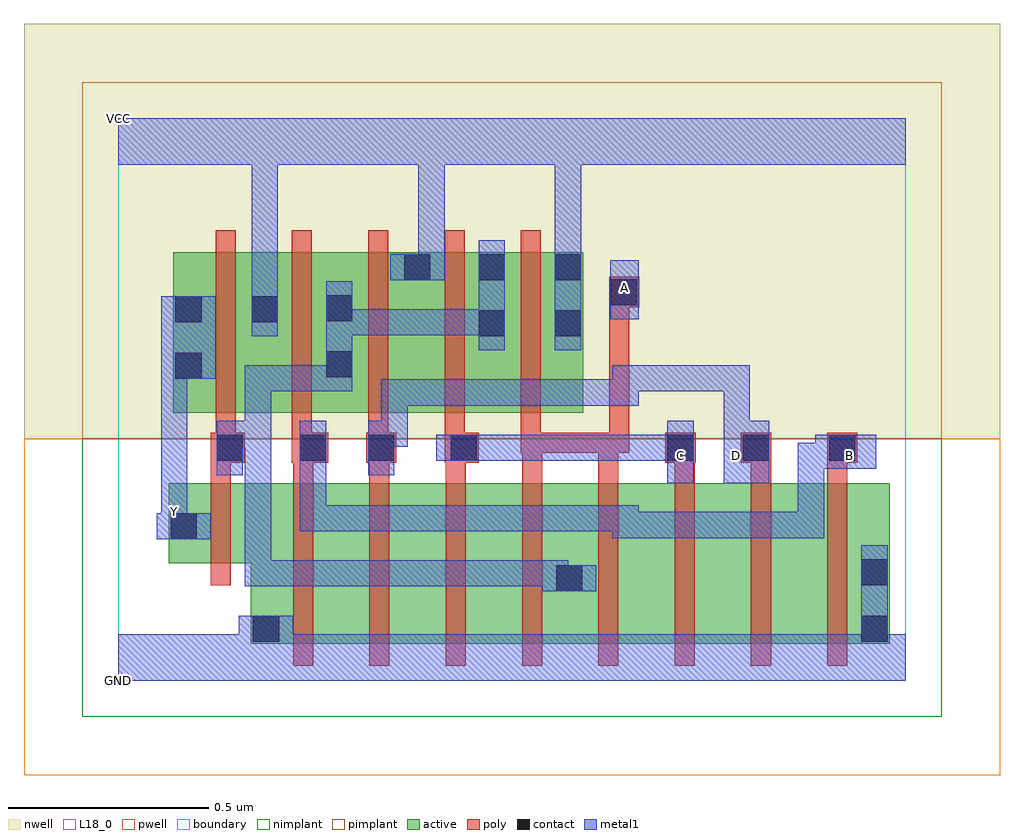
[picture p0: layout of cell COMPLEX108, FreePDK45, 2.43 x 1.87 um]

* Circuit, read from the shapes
.subckt COMPLEX108 A B C D GND VCC Y
M1 GND n1 Y VSUBS nfet w=0.2u l=0.05u
M2 n2 B GND VSUBS nfet w=0.4u l=0.05u
M3 n3 D n2 VSUBS nfet w=0.4u l=0.05u
M4 n4 C n3 VSUBS nfet w=0.4u l=0.05u
M5 n1 A n4 VSUBS nfet w=0.4u l=0.05u
M6 n5 A n1 VSUBS nfet w=0.4u l=0.05u
M7 n6 C n5 VSUBS nfet w=0.4u l=0.05u
M8 n7 D n6 VSUBS nfet w=0.4u l=0.05u
M9 GND B n7 VSUBS nfet w=0.4u l=0.05u
M10 VCC n1 Y n8 pfet w=0.4u l=0.05u
M11 n1 B VCC n8 pfet w=0.4u l=0.05u
M12 VCC D n1 n8 pfet w=0.4u l=0.05u
M13 n1 C VCC n8 pfet w=0.4u l=0.05u
M14 VCC A n1 n8 pfet w=0.4u l=0.05u
.ends

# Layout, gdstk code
import gdstk
lib = gdstk.Library(unit=1e-6, precision=1e-09)
def R(c, l, rs):  # rectangles x0, y0, x1, y1
    for r in rs: c.add(gdstk.rectangle(r[:2], r[2:], *l))
def A(c, l, x, y, w, h, nx, ny, dx, dy):  # array of equal rectangles
    R(c, l, [(x+i*dx, y+j*dy, x+i*dx+w, y+j*dy+h) for i in range(nx) for j in range(ny)])
active = (1, 0)
pwell = (2, 0)
nwell = (3, 0)
nimplant = (4, 0)
pimplant = (5, 0)
poly = (9, 0)
contact = (10, 0)
metal1 = (11, 0)
L18_0 = (18, 0)
boundary = (235, 0)

complex108 = lib.new_cell('COMPLEX108')
R(complex108, active, [(0.33,0.092,0.555,0.492), (0.33,0.092,0.405,0.347), (0.555,0.092,0.745,0.492), (0.745,0.092,0.935,0.492), (0.935,0.092,1.16,0.492), (1.085,0.092,1.315,0.492), (1.315,0.092,1.505,0.492), (1.505,0.092,1.695,0.492), (1.695,0.092,1.92,0.492), (1.845,0.092,1.92,0.492), (1.085,0.147,1.16,0.492), (0.125,0.292,0.405,0.492), (0.125,0.292,0.2,0.492), (0.137,0.667,0.212,1.067), (0.137,0.667,0.402,1.067), (0.327,0.667,0.587,1.067), (0.512,0.667,0.782,1.067), (0.707,0.667,0.967,1.067), (0.892,0.667,1.157,1.067), (0.512,0.75,0.587,1.067), (0.327,0.802,0.402,1.067), (0.892,0.802,0.967,1.067), (1.082,0.802,1.157,1.067), (0.707,0.907,0.782,1.067)])
R(complex108, pwell, [(-0.235,-0.235,2.195,0.602)])
R(complex108, nwell, [(-0.235,0.602,2.195,1.635)])
R(complex108, nimplant, [(-0.09,-0.09,2.05,0.602)])
R(complex108, pimplant, [(-0.09,0.602,2.05,1.49)])
A(complex108, poly, 0.435, 0.037, 0.05, 0.51, 8, 1, 0.19, 0)
A(complex108, poly, 0.435, 0.497, 0.05, 0.095, 3, 1, 0.19, 0)
A(complex108, poly, 1.385, 0.497, 0.05, 0.095, 3, 1, 0.19, 0)
A(complex108, poly, 0.242, 0.567, 0.05, 0.095, 5, 1, 0.19, 0)
A(complex108, poly, 0.242, 0.612, 0.05, 0.51, 5, 1, 0.19, 0)
R(complex108, poly, [(0.23,0.237,0.28,0.547), (0.23,0.497,0.28,0.592), (1.005,0.497,1.055,0.617), (1.195,0.497,1.245,0.617), (0.23,0.542,0.315,0.617), (0.432,0.542,0.522,0.617), (0.617,0.542,0.692,0.617), (0.812,0.542,0.897,0.617), (1.362,0.542,1.437,0.617), (1.55,0.542,1.625,0.617), (1.765,0.542,1.84,0.617), (1.002,0.567,1.055,0.617), (1.005,0.567,1.055,0.617), (1.005,0.567,1.055,0.617), (1.005,0.567,1.245,0.617), (1.195,0.567,1.257,0.617), (1.207,0.567,1.257,0.617), (1.207,0.567,1.272,0.617), (1.222,0.567,1.272,0.98), (1.222,0.93,1.297,1.005)])
R(complex108, contact, [(0.335,0.097,0.4,0.162), (1.85,0.097,1.915,0.162), (1.09,0.222,1.155,0.287), (1.85,0.237,1.915,0.302), (0.13,0.352,0.195,0.417), (0.245,0.547,0.31,0.612), (0.452,0.547,0.517,0.612), (0.622,0.547,0.687,0.612), (0.827,0.547,0.892,0.612), (1.367,0.547,1.432,0.612), (1.555,0.547,1.62,0.612), (1.77,0.547,1.835,0.612), (0.142,0.752,0.207,0.817), (0.517,0.755,0.582,0.82), (0.897,0.857,0.962,0.922), (1.087,0.857,1.152,0.922), (0.142,0.892,0.207,0.957), (0.332,0.892,0.397,0.957), (0.517,0.895,0.582,0.96), (1.227,0.935,1.292,1), (0.712,0.997,0.777,1.062), (0.897,0.997,0.962,1.062), (1.087,0.997,1.152,1.062)])
R(complex108, metal1, [(0,0,1.96,0.115), (0.37,0.05,0.435,0.162), (1.85,0.05,1.915,0.127), (1.85,0.062,1.915,0.337), (0.3,0.097,0.435,0.162), (1.055,0.222,1.12,0.287), (1.055,0.222,1.19,0.287), (1.055,0.222,1.12,0.3), (0.315,0.235,0.38,0.3), (0.315,0.235,0.38,0.3), (0.315,0.235,0.38,0.3), (0.315,0.235,0.55,0.3), (0.315,0.235,0.38,0.647), (0.485,0.235,0.55,0.3), (0.485,0.235,0.55,0.3), (0.485,0.235,0.55,0.3), (0.485,0.235,0.687,0.3), (0.622,0.235,0.687,0.3), (0.622,0.235,0.825,0.3), (0.76,0.235,0.825,0.3), (0.76,0.235,0.825,0.3), (0.76,0.235,0.825,0.3), (0.76,0.235,0.962,0.3), (0.897,0.235,0.962,0.3), (0.897,0.235,1.12,0.3), (0.095,0.352,0.23,0.417), (0.107,0.352,0.172,0.417), (0.107,0.352,0.172,0.487), (1.23,0.355,1.295,0.42), (1.23,0.355,1.295,0.42), (1.23,0.355,1.432,0.42), (1.23,0.355,1.295,0.437), (1.367,0.355,1.432,0.42), (1.367,0.355,1.62,0.42), (1.555,0.355,1.62,0.42), (1.555,0.355,1.62,0.42), (1.555,0.355,1.62,0.42), (1.555,0.355,1.757,0.42), (1.692,0.355,1.757,0.592), (1.692,0.355,1.757,0.42), (0.452,0.372,0.517,0.437), (0.452,0.372,0.687,0.437), (0.452,0.372,0.517,0.577), (0.622,0.372,0.687,0.437), (0.622,0.372,0.795,0.437), (0.73,0.372,0.795,0.437), (0.73,0.372,0.962,0.437), (0.897,0.372,0.962,0.437), (0.897,0.372,0.962,0.437), (0.897,0.372,0.962,0.437), (0.897,0.372,1.152,0.437), (1.087,0.372,1.152,0.437), (1.087,0.372,1.152,0.437), (1.087,0.372,1.152,0.437), (1.087,0.372,1.295,0.437), (0.107,0.422,0.172,0.817), (1.367,0.492,1.432,0.647), (1.507,0.492,1.62,0.647), (0.245,0.512,0.31,0.647), (0.452,0.512,0.517,0.577), (0.452,0.512,0.517,0.577), (0.452,0.512,0.517,0.647), (0.622,0.512,0.687,0.647), (1.692,0.527,1.8,0.592), (1.692,0.527,1.757,0.592), (1.735,0.527,1.887,0.612), (0.792,0.547,0.927,0.612), (0.862,0.547,0.962,0.612), (0.897,0.547,0.962,0.612), (0.897,0.547,1.1,0.612), (1.035,0.547,1.1,0.612), (1.035,0.547,1.1,0.612), (1.035,0.547,1.1,0.612), (1.035,0.547,1.295,0.612), (1.23,0.547,1.295,0.612), (1.23,0.547,1.295,0.612), (1.23,0.547,1.295,0.612), (1.23,0.547,1.432,0.612), (0.245,0.582,0.38,0.647), (0.315,0.582,0.38,0.647), (0.315,0.582,0.38,0.785), (0.622,0.582,0.72,0.647), (0.655,0.582,0.72,0.647), (0.655,0.582,0.72,0.75), (1.507,0.582,1.572,0.647), (1.507,0.582,1.572,0.647), (1.507,0.582,1.572,0.785), (0.655,0.685,0.72,0.75), (0.655,0.685,0.962,0.75), (0.897,0.685,0.962,0.75), (0.897,0.685,0.962,0.75), (0.897,0.685,0.962,0.75), (0.897,0.685,1.1,0.75), (1.035,0.685,1.1,0.75), (1.035,0.685,1.1,0.75), (1.035,0.685,1.1,0.75), (1.035,0.685,1.295,0.75), (1.23,0.685,1.295,0.785), (0.315,0.72,0.38,0.785), (0.315,0.72,0.55,0.785), (0.485,0.72,0.55,0.785), (0.485,0.72,0.582,0.785), (0.517,0.72,0.582,0.995), (1.23,0.72,1.295,0.785), (1.23,0.72,1.295,0.785), (1.23,0.72,1.432,0.785), (1.367,0.72,1.432,0.785), (1.367,0.72,1.572,0.785), (1.507,0.72,1.572,0.785), (0.107,0.752,0.242,0.957), (0.897,0.822,0.962,1.097), (1.087,0.822,1.152,1.097), (0.332,0.857,0.397,0.992), (0.517,0.86,0.687,0.925), (0.517,0.86,0.582,0.995), (0.622,0.86,0.687,0.925), (0.622,0.86,0.825,0.925), (0.76,0.86,0.825,0.925), (0.76,0.86,0.962,0.925), (0.897,0.86,0.962,0.925), (0.897,0.86,0.962,0.925), (1.225,0.9,1.295,1.047), (0.332,0.927,0.397,1.35), (0.517,0.93,0.582,0.995), (0.677,0.997,0.812,1.062), (0.747,0.997,0.812,1.35), (1.087,1.032,1.152,1.35), (0,1.285,1.96,1.4), (0.332,1.285,0.397,1.35), (0.332,1.285,0.397,1.35), (0.747,1.285,0.812,1.35), (0.747,1.285,0.812,1.35), (1.087,1.285,1.152,1.35), (1.087,1.285,1.152,1.35)])
R(complex108, L18_0, [(0,0,1.96,0.115), (0.37,0.05,0.435,0.162), (1.85,0.05,1.915,0.127), (1.85,0.062,1.915,0.337), (0.3,0.097,0.435,0.162), (0.095,0.352,0.23,0.417), (0.107,0.352,0.172,0.487), (0.107,0.352,0.172,0.417), (1.23,0.355,1.295,0.42), (1.23,0.355,1.295,0.42), (1.23,0.355,1.295,0.437), (1.23,0.355,1.432,0.42), (1.367,0.355,1.432,0.42), (1.367,0.355,1.62,0.42), (1.555,0.355,1.62,0.42), (1.555,0.355,1.62,0.42), (1.555,0.355,1.62,0.42), (1.555,0.355,1.757,0.42), (1.692,0.355,1.757,0.42), (1.692,0.355,1.757,0.592), (0.452,0.372,0.517,0.437), (0.452,0.372,0.517,0.577), (0.452,0.372,0.687,0.437), (0.622,0.372,0.687,0.437), (0.622,0.372,0.795,0.437), (0.73,0.372,0.795,0.437), (0.73,0.372,0.962,0.437), (0.897,0.372,0.962,0.437), (0.897,0.372,0.962,0.437), (0.897,0.372,0.962,0.437), (0.897,0.372,1.152,0.437), (1.087,0.372,1.152,0.437), (1.087,0.372,1.152,0.437), (1.087,0.372,1.152,0.437), (1.087,0.372,1.295,0.437), (0.107,0.387,0.172,0.452), (0.107,0.422,0.172,0.817), (1.367,0.492,1.432,0.647), (1.507,0.492,1.62,0.647), (0.452,0.512,0.517,0.647), (0.452,0.512,0.517,0.577), (0.452,0.512,0.517,0.577), (0.622,0.512,0.687,0.647), (1.367,0.527,1.432,0.592), (1.507,0.527,1.572,0.592), (1.692,0.527,1.757,0.592), (1.692,0.527,1.8,0.592), (1.735,0.527,1.887,0.612), (1.787,0.527,1.852,0.592), (0.792,0.547,0.927,0.612), (0.862,0.547,0.962,0.612), (0.897,0.547,0.962,0.612), (0.897,0.547,1.1,0.612), (1.035,0.547,1.1,0.612), (1.035,0.547,1.1,0.612), (1.035,0.547,1.1,0.612), (1.035,0.547,1.295,0.612), (1.23,0.547,1.295,0.612), (1.23,0.547,1.295,0.612), (1.23,0.547,1.295,0.612), (1.23,0.547,1.432,0.612), (0.622,0.582,0.72,0.647), (0.655,0.582,0.72,0.647), (0.655,0.582,0.72,0.75), (1.507,0.582,1.572,0.647), (1.507,0.582,1.572,0.647), (1.507,0.582,1.572,0.785), (0.655,0.685,0.72,0.75), (0.655,0.685,0.962,0.75), (0.897,0.685,0.962,0.75), (0.897,0.685,0.962,0.75), (0.897,0.685,0.962,0.75), (0.897,0.685,1.1,0.75), (1.035,0.685,1.1,0.75), (1.035,0.685,1.1,0.75), (1.035,0.685,1.1,0.75), (1.035,0.685,1.295,0.75), (1.23,0.685,1.295,0.785), (1.23,0.72,1.295,0.785), (1.23,0.72,1.295,0.785), (1.23,0.72,1.432,0.785), (1.367,0.72,1.432,0.785), (1.367,0.72,1.572,0.785), (1.507,0.72,1.572,0.785), (0.107,0.752,0.242,0.957), (1.087,0.822,1.152,1.097), (0.332,0.857,0.397,0.992), (1.225,0.9,1.295,1.047), (0.332,0.927,0.397,1.35), (1.227,0.947,1.292,1.012), (0.677,0.997,0.812,1.062), (0.747,0.997,0.812,1.35), (1.087,1.032,1.152,1.35), (0,1.285,1.96,1.4), (0.332,1.285,0.397,1.35), (0.332,1.285,0.397,1.35), (0.747,1.285,0.812,1.35), (0.747,1.285,0.812,1.35), (1.087,1.285,1.152,1.35), (1.087,1.285,1.152,1.35)])
R(complex108, boundary, [(0,0,1.96,1.4)])
complex108.add(gdstk.Label('A', (1.26,0.98), layer=11, texttype=0))
complex108.add(gdstk.Label('B', (1.82,0.56), layer=11, texttype=0))
complex108.add(gdstk.Label('C', (1.4,0.56), layer=11, texttype=0))
complex108.add(gdstk.Label('D', (1.54,0.56), layer=11, texttype=0))
complex108.add(gdstk.Label('Y', (0.14,0.42), layer=11, texttype=0))
complex108.add(gdstk.Label('VCC', (0,1.4), layer=11, texttype=0))
complex108.add(gdstk.Label('GND', (0,0), layer=11, texttype=0))

lib.write_gds('COMPLEX108.gds')
